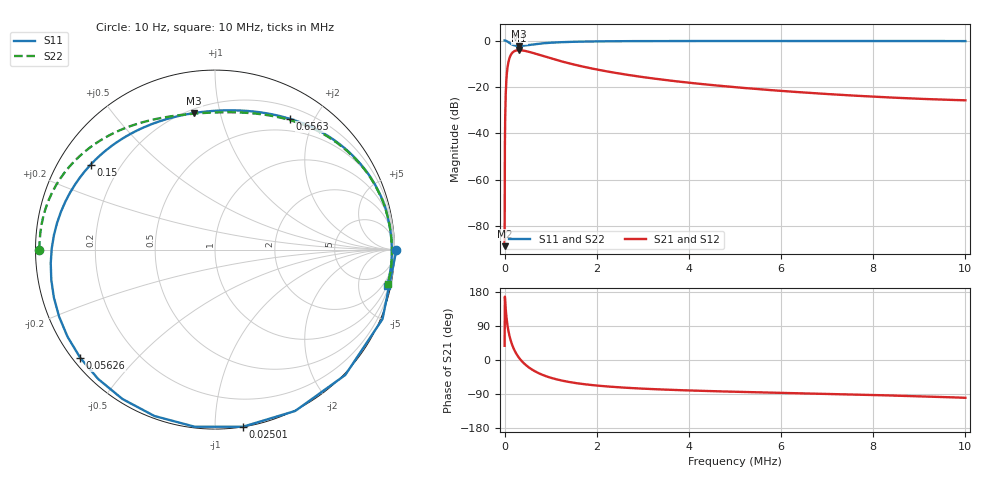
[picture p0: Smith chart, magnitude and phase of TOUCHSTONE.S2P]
!Keysight Technologies,E5061B,MY49912438,B.06.30
!Date: Thu Nov 06 23:47:56 2025
!Data & Calibration Information:
!Freq	S11:SOLT2(ON)	S21:SOLT2(ON)	S12:SOLT2(ON)	S22:SOLT2(ON)
# Hz S RI R 50
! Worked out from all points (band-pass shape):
!   1601 points, 10 Hz to 10 MHz, reference 50 ohm
!   highest |S21| = -4.10 dB at 318.8 kHz (marker M1); lowest = -88.8 dB at 10 Hz (marker M2)
!   |S21| within 3 dB of the highest: 113.1 kHz to 913.6 kHz (800.5 kHz wide, 156 % of centre)
!   lowest |S11| = -2.3 dB at 312.5 kHz (marker M3), VSWR 7.68, Z = 11.2 + j41.7 ohm
!   |S11| at or under -10 dB: nowhere
!   |S22| runs from -2.3 to -0.1 dB; largest |S21 - S12| = 0.0033
!   S11 on the Smith chart (normalised r, x): 10 Hz: open; 25.01 kHz: 0.00, -1.17; 56.26 kHz: 0.02, -0.35; 150 kHz: 0.10, +0.31; 656.3 kHz: 0.34, +1.68; 10 MHz: 0.97, -9.51
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10  1.011 -0.000884  2.89e-05 2.22e-05  1.19e-05 -0.000134  -0.9807 -0.00129
25009.97  0.1545 -0.9872  -0.0507 0.0534  -0.051 0.0524  -0.9564 0.1856
56259.94  -0.7511 -0.6026  -0.027 0.2298  -0.0297 0.2302  -0.8627 0.3951
62509.94  -0.8218 -0.485  -0.00617 0.2603  -0.00893 0.2613  -0.8375 0.43
75009.93  -0.8979 -0.2661  0.044 0.3108  0.0416 0.3128  -0.7836 0.4922
93759.91  -0.9097 0.00612  0.1302 0.3606  0.1287 0.3633  -0.6985 0.5674
118759.9  -0.8337 0.2673  0.2458 0.3845  0.2455 0.3876  -0.5868 0.6379
150009.9  -0.6926 0.4736  0.3709 0.3672  0.3715 0.3699  -0.4598 0.692
212509.8  -0.4229 0.669  0.5338 0.2599  0.5353 0.2616  -0.2571 0.7409
312509.7  -0.1168 0.7607  0.6203 0.0639  0.6219 0.0649  -0.0297 0.7631
318759.7  -0.1015 0.763  0.6214 0.053  0.6229 0.054  -0.0179 0.7636
475009.5  0.194 0.7713  0.5725 -0.1509  0.5742 -0.1505  0.2261 0.7577
656259.3  0.4185 0.7283  0.4593 -0.2611  0.461 -0.2612  0.4297 0.7177
843759.2  0.5757 0.6645  0.3537 -0.2996  0.3552 -0.3001  0.5789 0.6577
1068759  0.7 0.5831  0.2597 -0.3008  0.2608 -0.3014  0.6998 0.5793
1668758  0.8626 0.409  0.1272 -0.2492  0.1278 -0.2499  0.8606 0.4084
2387508  0.9339 0.2741  0.0652 -0.1923  0.0655 -0.1929  0.9323 0.2749
3337507  0.9673 0.1614  0.0321 -0.1441  0.0322 -0.1447  0.9668 0.163
5000005  0.9838 0.0386  0.0106 -0.0984  0.0107 -0.0988  0.9842 0.0411
6668753  0.9842 -0.0497  0.00181 -0.074  0.00179 -0.0743  0.9853 -0.0457
8337502  0.9757 -0.1268  -0.00362 -0.0594  -0.00368 -0.0596  0.9782 -0.1199
1e7  0.9583 -0.2017  -0.00874 -0.0508  -0.00883 -0.051  0.9641 -0.19
